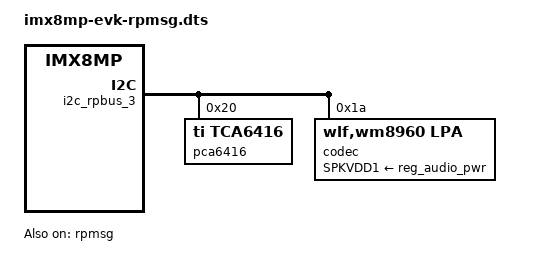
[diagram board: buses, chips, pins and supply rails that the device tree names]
// SPDX-License-Identifier: (GPL-2.0 OR MIT)
/*
 * Copyright 2020 NXP
 */

/dts-v1/;

#include "imx8mp-evk.dts"

/ {
	aliases {
		i2c0 = &i2c1;
		i2c1 = &i2c2;
		i2c2 = &i2c_rpbus_3;
	};

	reserved-memory {
		#address-cells = <2>;
		#size-cells = <2>;
		ranges;

		m4_reserved: m4@0x80000000 {
			no-map;
			reg = <0 0x80000000 0 0x1000000>;
		};

		rpmsg_dma_reserved:rpmsg_dma@0xb8400000 {
			compatible = "shared-dma-pool";
			no-map;
			reg = <0 0xb8400000 0 0x100000>;
		};

		audio_reserved: audio@0x81000000 {
			compatible = "shared-dma-pool";
			no-map;
			reg = <0 0x81000000 0 0x10000000>;
		};
	};

	sound-wm8960 {
		status = "disabled";
	};

	rpmsg_i2s: rpmsg-i2s {
		compatible = "fsl,imx8mp-rpmsg-i2s";
		/* the audio device index in m4 domain */
		fsl,audioindex = <0> ;
		fsl,dma-buffer-size = <0x6000000>;
		fsl,enable-lpa;
		status = "okay";
	};

	sound-rpmsg {
		compatible = "fsl,imx-audio-rpmsg";
		model = "wm8960-audio";
		cpu-dai = <&rpmsg_i2s>;
		audio-codec = <&codec>;
		memory-region = <&audio_reserved>;
		rpmsg-out;
		audio-routing =
			"LINPUT1", "MICB",
			"LINPUT3", "MICB";
	};
};

/*
 * ATTENTION: M7 may use IPs like below
 * ECSPI0/ECSPI2, FLEXCAN, GPIO1/GPIO5, GPT1, I2C3, I2S3, WDOG1, UART4,
 * PWM4, SDMA1/SDMA2
 */
&ecspi2 {
	status = "disabled";
};

&flexcan1 {
	status = "disabled";
};

&flexspi {
	status = "disabled";
};

/delete-node/ &i2c3;

&i2c_rpbus_3 {
	compatible = "fsl,i2c-rpbus";
	#address-cells = <1>;
	#size-cells = <0>;
	status = "okay";

	pca6416: gpio@20 {
		compatible = "ti,tca6416";
		reg = <0x20>;
		gpio-controller;
		#gpio-cells = <2>;
	};

	ov5640_1: ov5640_mipi@3c {
		compatible = "ovti,ov5640";
		reg = <0x3c>;
		pinctrl-names = "default";
		pinctrl-0 = <&pinctrl_csi0_pwn>, <&pinctrl_csi0_rst>;
		clocks = <&clk IMX8MP_CLK_IPP_DO_CLKO2>;
		clock-names = "xclk";
		assigned-clocks = <&clk IMX8MP_CLK_IPP_DO_CLKO2>;
		assigned-clock-parents = <&clk IMX8MP_CLK_24M>;
		assigned-clock-rates = <24000000>;
		csi_id = <0>;
		powerdown-gpios = <&gpio4 1 GPIO_ACTIVE_HIGH>;
		reset-gpios = <&gpio4 0 GPIO_ACTIVE_LOW>;
		mclk = <24000000>;
		mclk_source = <0>;
		mipi_csi;
		status = "disabled";

		port {
			ov5640_mipi_1_ep: endpoint {
				remote-endpoint = <&mipi_csi1_ep>;
				data-lanes = <1 2>;
				clock-lanes = <0>;
			};
		};
	};

	codec: wm8960@1a {
		compatible = "wlf,wm8960,lpa";
		reg = <0x1a>;
		wlf,shared-lrclk;
		SPKVDD1-supply = <&reg_audio_pwr>;
	};
};

&pwm4{
	status = "disabled";
};

&rpmsg{
	/*
	 * 64K for one rpmsg instance:
	 * --0xb8000000~0xb800ffff: pingpong
	 */
	vdev-nums = <1>;
	reg = <0x0 0xb8000000 0x0 0x10000>;
	memory-region = <&rpmsg_dma_reserved>;
	status = "okay";
};

&sdma1{
	status = "disabled";
};

&sdma3{
	status = "disabled";
};

&uart4 {
	status = "disabled";
};

&wdog1 {
	status = "disabled";
};

&sai3 {
	status = "disabled";
};
